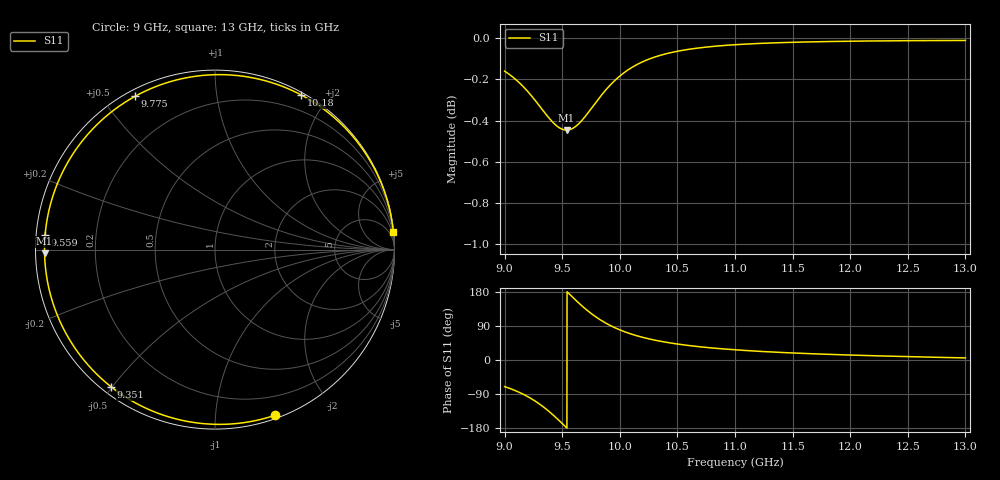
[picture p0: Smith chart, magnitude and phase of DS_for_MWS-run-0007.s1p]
! TOUCHSTONE file generated by CST DESIGN STUDIO
! Date and time: Tue Feb  4 17:55:23 2025
! Project name: C:\Work\MatlabApps\UnitCellOptimizationMatlab\CST\unitcell.cst
! Tree item: Tasks\Sweep1\SPara1\S-Parameters
! Header version: 2024
! Port assignment regex: !\s*Touchstone port\s*([0-9]+)\s*=\s*(CST MWS port|CST DES external port|CST DES block port)\s*(.+)\s* \(\"(.*)\"\)(\s*mode\s*([0-9]+))?.*
! Touchstone port assignment:
! Touchstone port 1 = CST DES external port 1 ("")
# GHz S MA R 50
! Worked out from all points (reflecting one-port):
!   4001 points, 9 GHz to 13 GHz, reference 50 ohm
!   lowest |S11| = -0.4 dB at 9.538 GHz (marker M1), VSWR 38.92, Z = 1.28 - j0.518 ohm
!   phase of S11 starts at -70 deg and turns -284 deg over the sweep
!   S11 on the Smith chart (normalised r, x): 9 GHz: 0.03, -1.42; 9.351 GHz: 0.03, -0.50; 9.559 GHz: 0.03, +0.04; 9.775 GHz: 0.03, +0.61; 10.18 GHz: 0.03, +1.70; 13 GHz: 0, +21
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9  0.9818 -70.2
9.099  0.977 -81.6
9.207  0.9702 -97.7
9.283  0.9644 -112.0
9.351  0.959 -127.1
9.422  0.9538 -145.3
9.463  0.9516 -156.8
9.5  0.9503 -167.5
9.538  0.9499 -178.8
9.559  0.95 174.9
9.613  0.9517 159.1
9.673  0.9552 142.3
9.724  0.9591 129.3
9.775  0.9633 117.4
9.823  0.9672 107.5
9.875  0.9712 97.9
9.933  0.9752 88.6
10  0.9791 79.5
10.088  0.9831 69.6
10.184  0.9865 60.9
10.328  0.99 50.9
10.5  0.9927 42.1
10.721  0.9949 34.1
11  0.9964 26.9
11.5  0.9977 18.6
12  0.9983 13.0
12.5  0.9986 8.9
13  0.9988 5.5
